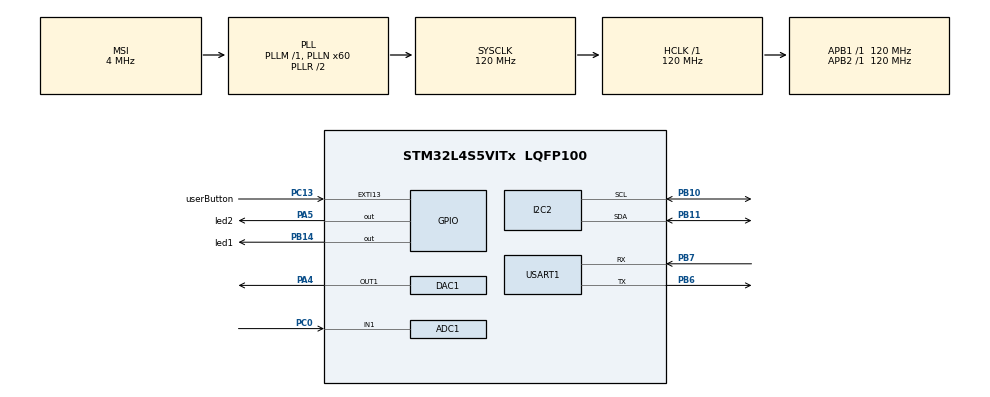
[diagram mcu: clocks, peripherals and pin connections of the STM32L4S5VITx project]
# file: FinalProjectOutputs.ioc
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ADC1.Channel-0\#ChannelRegularConversion=ADC_CHANNEL_1
ADC1.ContinuousConvMode=ENABLE
ADC1.NbrOfConversionFlag=1
ADC1.OffsetNumber-0\#ChannelRegularConversion=ADC_OFFSET_NONE
ADC1.Rank-0\#ChannelRegularConversion=1
ADC1.SamplingTime-0\#ChannelRegularConversion=ADC_SAMPLETIME_2CYCLES_5
ADC1.master=1
DAC1.DAC_Trigger-DAC_OUT1=DAC_TRIGGER_T2_TRGO
Dma.DAC1_CH1.0.Direction=DMA_MEMORY_TO_PERIPH
Dma.DAC1_CH1.0.EventEnable=DISABLE
Dma.DAC1_CH1.0.Instance=DMA1_Channel1
Dma.DAC1_CH1.0.MemDataAlignment=DMA_MDATAALIGN_HALFWORD
Dma.DAC1_CH1.0.MemInc=DMA_MINC_ENABLE
Dma.DAC1_CH1.0.Mode=DMA_CIRCULAR
Dma.DAC1_CH1.0.PeriphDataAlignment=DMA_PDATAALIGN_HALFWORD
Dma.DAC1_CH1.0.PeriphInc=DMA_PINC_DISABLE
Dma.DAC1_CH1.0.Polarity=HAL_DMAMUX_REQUEST_GEN_RISING
Dma.DAC1_CH1.0.Priority=DMA_PRIORITY_LOW
Dma.DAC1_CH1.0.RequestNumber=1
Dma.DAC1_CH1.0.SignalID=NONE
Dma.DAC1_CH1.0.SyncEnable=DISABLE
Dma.DAC1_CH1.0.SyncPolarity=HAL_DMAMUX_SYNC_NO_EVENT
Dma.DAC1_CH1.0.SyncRequestNumber=1
Dma.DAC1_CH1.0.SyncSignalID=NONE
Dma.Request0=DAC1_CH1
I2C2.Timing=0x307075B1
Mcu.Family=STM32L4
Mcu.Name=STM32L4S5VITx
Mcu.Package=LQFP100
NVIC.DMA1_Channel1_IRQn=true\:0\:0\:false\:false\:true\:false\:true\:true
NVIC.EXTI15_10_IRQn=true\:0\:0\:false\:false\:true\:true\:true\:true
NVIC.PriorityGroup=NVIC_PRIORITYGROUP_4
NVIC.TIM5_IRQn=true\:0\:0\:false\:false\:true\:true\:true\:true
PA4.Signal=COMP_DAC11_group
PA5.GPIO_Label=led2
PA5.Signal=GPIO_Output
PB10.Mode=I2C
PB10.Signal=I2C2_SCL
PB11.Mode=I2C
PB11.Signal=I2C2_SDA
PB14.GPIO_Label=led1
PB14.Signal=GPIO_Output
PB6.Mode=Asynchronous
PB6.Signal=USART1_TX
PB7.Mode=Asynchronous
PB7.Signal=USART1_RX
PC0.Signal=ADCx_IN1
PC13.GPIO_Label=userButton
PC13.Signal=GPXTI13
ProjectManager.HeapSize=0x200
ProjectManager.StackSize=0x400
ProjectManager.TargetToolchain=STM32CubeIDE
RCC.ADCFreq_Value=48000000
RCC.AHBFreq_Value=120000000
RCC.APB1Freq_Value=120000000
RCC.APB1TimFreq_Value=120000000
RCC.APB2Freq_Value=120000000
RCC.APB2TimFreq_Value=120000000
RCC.CortexFreq_Value=120000000
RCC.HCLKFreq_Value=120000000
RCC.HSE_VALUE=8000000
RCC.HSI48_VALUE=48000000
RCC.HSI_VALUE=16000000
RCC.LSE_VALUE=32768
RCC.MSI_VALUE=4000000
RCC.PLLN=60
RCC.PLLSAI1N=24
RCC.SYSCLKFreq_VALUE=120000000
RCC.SYSCLKSource=RCC_SYSCLKSOURCE_PLLCLK
RCC.USBFreq_Value=48000000
RCC.VCOOutputFreq_Value=240000000
SH.ADCx_IN1.0=ADC1_IN1,IN1-Single-Ended
SH.COMP_DAC11_group.0=DAC1_OUT1,DAC_OUT1
TIM2.Period=2721
TIM2.TIM_MasterOutputTrigger=TIM_TRGO_UPDATE
TIM5.Period=120000
USART1.VirtualMode-Asynchronous=VM_ASYNC
VP_TIM2_VS_ClockSourceINT.Mode=Internal
VP_TIM5_VS_ClockSourceINT.Mode=Internal
board=B-L4S5I-IOT01A

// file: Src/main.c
/* USER CODE BEGIN Header */
/**
  ******************************************************************************
  * @file           : main.c
  * @brief          : Main program body
  ******************************************************************************
  * @attention
  *
  * Copyright (c) 2023 STMicroelectronics.
  * All rights reserved.
  *
  * This software is licensed under terms that can be found in the LICENSE file
  * in the root directory of this software component.
  * If no LICENSE file comes with this software, it is provided AS-IS.
  *
  ******************************************************************************
  */
/* USER CODE END Header */
#include "main.h"

/* USER CODE BEGIN Includes */
#include <stdio.h>
#include <string.h>
#define ARM_MATH_CM4
#include "arm_math.h"
#include <stm32l4s5i_iot01_gyro.h>

/* USER CODE END Includes */

ADC_HandleTypeDef hadc1;

DAC_HandleTypeDef hdac1;
DMA_HandleTypeDef hdma_dac1_ch1;

I2C_HandleTypeDef hi2c2;

TIM_HandleTypeDef htim2;
TIM_HandleTypeDef htim5;

UART_HandleTypeDef huart1;

/* USER CODE BEGIN PV */
// printf & scanf stuff
#ifdef __GNUC__
#define PUTCHAR_PROTOTYPE int __io_putchar(int ch)
#define GETCHAR_PROTOTYPE int __io_getchar(void)
#else
#define PUTCHAR_PROTOTYPE int fputc(int ch, FILE *f)
#define GETCHAR_PROTOTYPE int fgetc(FILE *f)
#endif

PUTCHAR_PROTOTYPE
{
  HAL_UART_Transmit(&huart1, (uint8_t *)&ch, 1, HAL_MAX_DELAY);
  return ch;
}

GETCHAR_PROTOTYPE
{
  uint8_t ch = 0;

  /* Clear the Overrun flag just before receiving the first character */
  __HAL_UART_CLEAR_OREFLAG(&huart1);

  /* Wait for reception of a character on the USART RX line and echo this
   * character on console */
  HAL_UART_Receive(&huart1, (uint8_t *)&ch, 1, HAL_MAX_DELAY);
  HAL_UART_Transmit(&huart1, (uint8_t *)&ch, 1, HAL_MAX_DELAY);
  return ch;
}

// for mode 0
char inputChar;
int morseLetterSize;
char morseLetter[4];
char mode;

// for mode 1
char morseInputArray[4] = {'.', '\0', '\0', '\0'};
int morseInputArraySize = 1;
int millis;
int start;
int delays[5];
char code[5];
int res = 0;

	// for speaker
int beepArraySize = 44;
uint16_t beepArray[44];

char letterToPrint;
char notSpace; // 1 is true

float gyro_read[3];

/* USER CODE END PV */

void SystemClock_Config(void);
static void MX_GPIO_Init(void);
static void MX_DMA_Init(void);
static void MX_USART1_UART_Init(void);
static void MX_DAC1_Init(void);
static void MX_TIM2_Init(void);
static void MX_ADC1_Init(void);
static void MX_TIM5_Init(void);
static void MX_I2C2_Init(void);

/* USER CODE BEGIN 0 */
void HAL_GPIO_EXTI_Callback(uint16_t GPIO_Pin) { // page 391 HAL driver manual
	printf("Interrupt \n\r");
	if (GPIO_Pin == userButton_Pin) { // verify that only the pin we want is starting this interrupt (good coding practice)
		printf("Button Pressed. \n\r");
//		HAL_GPIO_TogglePin(led1_GPIO_Port, led1_Pin);
//		mode = (mode+1)%2;
//		if (mode == 1) {
//			printf("Taking input Morse input (array), displaying letter to terminal. \n\r");
//			printf("Press one more letter to end current translation. \n\r");
//		} else {
//			printf("Taking letter input from terminal, outputting Morse. \n\r");
//			printf("Press the spacebar to end current translation. \n\r");
//		}
	}
}

/**
 * Interrupt method to increment the counter at every millisecond
 */
void HAL_TIM_PeriodElapsedCallback(TIM_HandleTypeDef *htim) {
	if (htim == &htim5) {
		millis++;
	}
}

/**
 * Update global variables for the Morse array based on the inputted letter
 */
void updateMorseLetter(char letter){

	// \0s for space
	morseLetterSize = 4;
	morseLetter[0] = '\0'; morseLetter[1] = '\0'; morseLetter[2] = '\0'; morseLetter[3] = '\0';
	switch (letter)
	{
		case 'a':
			morseLetter[0] = '.'; morseLetter[1] = '-';
			morseLetterSize = 2;
			break;
		case 'b':
			morseLetter[0] = '-'; morseLetter[1] = '.'; morseLetter[2] = '.'; morseLetter[3] = '.';
			morseLetterSize = 4;
			break;
		case 'c':
			morseLetter[0] = '-'; morseLetter[1] = '.'; morseLetter[2] = '-'; morseLetter[3] = '.';
			morseLetterSize = 4;
			break;
		case 'd':
			morseLetter[0] = '-'; morseLetter[1] = '.'; morseLetter[2] = '.';
			morseLetterSize = 3;
			break;
		case 'e':
			morseLetter[0] = '.';
			morseLetterSize = 1;
			break;
		case 'f':
			morseLetter[0] = '.'; morseLetter[1] = '.'; morseLetter[2] = '-'; morseLetter[3] = '.';
			morseLetterSize = 4;
			break;
		case 'g':
			morseLetter[0] = '-'; morseLetter[1] = '-'; morseLetter[2] = '.';
			morseLetterSize = 3;
			break;
		case 'h':
			morseLetter[0] = '.'; morseLetter[1] = '.'; morseLetter[2] = '.'; morseLetter[3] = '.';
			morseLetterSize = 4;
			break;
		case 'i':
			morseLetter[0] = '.'; morseLetter[1] = '.';
			morseLetterSize = 2;
			break;
		case 'j':
			morseLetter[0] = '.'; morseLetter[1] = '-'; morseLetter[2] = '-'; morseLetter[3] = '-';
			morseLetterSize = 4;
			break;
		case 'k':
			morseLetter[0] = '-'; morseLetter[1] = '.'; morseLetter[2] = '-';
			morseLetterSize = 3;
			break;
		case 'l':
			morseLetter[0] = '.'; morseLetter[1] = '-'; morseLetter[2] = '.'; morseLetter[3] = '.';
			morseLetterSize = 4;
			break;
		case 'm':
			morseLetter[0] = '-'; morseLetter[1] = '-';
			morseLetterSize = 2;
			break;
		case 'n':
			morseLetter[0] = '-'; morseLetter[1] = '.';
			morseLetterSize = 2;
			break;
		case 'o':
			morseLetter[0] = '-'; morseLetter[1] = '-'; morseLetter[2] = '-';
			morseLetterSize = 3;
			break;
		case 'p':
			morseLetter[0] = '.'; morseLetter[1] = '-'; morseLetter[2] = '-'; morseLetter[3] = '.';
			morseLetterSize = 4;
			break;
		case 'q':
			morseLetter[0] = '-'; morseLetter[1] = '-'; morseLetter[2] = '.'; morseLetter[3] = '-';
			morseLetterSize = 4;
			break;
		case 'r':
			morseLetter[0] = '.'; morseLetter[1] = '-'; morseLetter[2] = '.';
			morseLetterSize = 3;
			break;
		case 's':
			morseLetter[0] = '.'; morseLetter[1] = '.'; morseLetter[2] = '.';
			morseLetterSize = 3;
			break;
		case 't':
			morseLetter[0] = '-';
			morseLetterSize = 1;
			break;
		case 'u':
			morseLetter[0] = '.'; morseLetter[1] = '.'; morseLetter[2] = '-';
			morseLetterSize = 3;
			break;
		case 'v':
			morseLetter[0] = '.'; morseLetter[1] = '.'; morseLetter[2] = '.'; morseLetter[3] = '-';
			morseLetterSize = 4;
			break;
		case 'w':
			morseLetter[0] = '.'; morseLetter[1] = '-'; morseLetter[2] = '-';
			morseLetterSize = 3;
			break;
		case 'x':
			morseLetter[0] = '-'; morseLetter[1] = '.'; morseLetter[2] = '.'; morseLetter[3] = '-';
			morseLetterSize = 4;
			break;
		case 'y':
			morseLetter[0] = '-'; morseLetter[1] = '.'; morseLetter[2] = '-'; morseLetter[3] = '-';
			morseLetterSize = 4;
			break;
		case 'z':
			morseLetter[0] = '-'; morseLetter[1] = '-'; morseLetter[2] = '.'; morseLetter[3] = '.';
			morseLetterSize = 4;
	}
}

/**
 * print the current Morse array to the serial terminal
 */
void printMorseLetter() {
	if (morseLetter[0] == '\0') {
		printf(" *space* ");
	} else {
		for (int i = 0; i < morseLetterSize; i++){
			printf("%c", morseLetter[i]);
		}
	}
}

/**
 * Play the current Morse array to the DAC speaker (and display on LED)
 */
void playMorseToSpeaker(char *morseArray, int morseArraySize) {
	for (int i = 0; i < morseArraySize; i++) {
		if (morseArray[i] == '.') {
			HAL_DAC_Start_DMA(&hdac1, DAC_CHANNEL_1, (uint32_t*) *beepArray, (uint32_t) beepArraySize, DAC_ALIGN_12B_R);
			HAL_GPIO_TogglePin(led2_GPIO_Port, led2_Pin);
			HAL_Delay(300);
			HAL_DAC_Stop_DMA(&hdac1, DAC_CHANNEL_1);
			HAL_GPIO_TogglePin(led2_GPIO_Port, led2_Pin);
			HAL_Delay(300);
		} else if (morseArray[i] == '-') {
			HAL_DAC_Start_DMA(&hdac1, DAC_CHANNEL_1, (uint32_t*) *beepArray, (uint32_t) beepArraySize, DAC_ALIGN_12B_R);
			HAL_GPIO_TogglePin(led2_GPIO_Port, led2_Pin);
			HAL_Delay(600);
			HAL_DAC_Stop_DMA(&hdac1, DAC_CHANNEL_1);
			HAL_GPIO_TogglePin(led2_GPIO_Port, led2_Pin);
			HAL_Delay(300);
		} else {
			return;
		}
	}
	printf("\n\r");
}

/**
 * Get a letter from the inputted Morse array
 */
char getLetterFromMorse(char *morseArray, int morseArraySize) {
	char nullChar = '\0';
	if (morseArraySize == 0) {return nullChar;}
	switch (morseArray[0]) {
	case '.':
		if (morseArraySize == 1) {return 'E';}
		switch (morseArray[1]) {
		case '.':
			if (morseArraySize == 2) {return 'I';}
			switch (morseArray[2]) {
			case '.':
				if (morseArraySize == 3) {return 'S';}
				switch(morseArray[3]) {
				case '.':
					return 'H';
				case '-':
					return 'V';
				}
			case '-':
				if (morseArraySize == 3) {return 'U';}
				switch(morseArray[3]) {
				case '.':
					return 'F';
				case '-':
					;
				}
			}
		case '-':
			if (morseArraySize == 2) {return 'A';}
			switch (morseArray[2]) {
			case '.':
				if (morseArraySize == 3) {return 'R';}
				switch(morseArray[3]) {
				case '.':
					return 'L';
				case '-':
					;
				}
			case '-':
				if (morseArraySize == 3) {return 'W';}
				switch(morseArray[3]) {
				case '.':
					return 'P';
				case '-':
					return 'J';
				}
			}
		}
	case '-':
		if (morseArraySize == 1) {return 'T';}
		switch (morseArray[1]) {
		case '.':
			if (morseArraySize == 2) {return 'N';}
			switch (morseArray[2]) {
			case '.':
				if (morseArraySize == 3) {return 'D';}
				switch(morseArray[3]) {
				case '.':
					return 'B';
				case '-':
					return 'X';
				}
			case '-':
				if (morseArraySize == 3) {return 'K';}
				switch(morseArray[3]) {
				case '.':
					return 'C';
				case '-':
					return 'Y';
				}
			}
		case '-':
			if (morseArraySize == 2) {return 'M';}
			switch (morseArray[2]) {
			case '.':
				if (morseArraySize == 3) {return 'G';}
				switch(morseArray[3]) {
				case '.':
					return 'Z';
				case '-':
					return 'Q';
				}
			case '-':
				if (morseArraySize == 3) {return 'O';}
				switch(morseArray[3]) {
				case '.':
					;
				case '-':
					;
				}
			}
		}
	}
	return nullChar;
}

/**
 * Calculate the corresponding letter associated with the code
 */
void calcMorseArray() {
	// Clear the code array
	for (int i = 0; i < 5; i++) code[i] = '\000';

	// Translate the delays into the appropriate symbols (i.e. '.', '-')
	for (int i = 0; i < 5; i++) {
		if (delays[i] == 0) break;

		if (delays[i] >= 300) code[i] = '-';
		if (delays[i] < 300) code[i] = '.';
	}
}

/**
 * Wait for the ADC input to be pressed returns 0 when pressed or 1 when timeouts
 */
int waitForADCPress(int i) {
	while (1) {
		HAL_ADC_Start(&hadc1);
		if (HAL_ADC_PollForConversion(&hadc1, 1000) == HAL_OK) {
			if (HAL_ADC_GetValue(&hadc1) <= 1000) {
				HAL_ADC_Stop(&hadc1);
				return 0;
			}
			if (i > 0 && millis - (start + delays[i - 1]) >= 2000) {
				HAL_ADC_Stop(&hadc1);
				return 1;
			}
		}
		HAL_ADC_Stop(&hadc1);
	}
}

/**
 * Wait for the ADC input to be released
 */
void waitForADCRelease() {
	while (1) {
		HAL_ADC_Start(&hadc1);
		if (HAL_ADC_PollForConversion(&hadc1, 1000) == HAL_OK) {
			if (HAL_ADC_GetValue(&hadc1) > 1000) {
				HAL_ADC_Stop(&hadc1);
				return;
			}
		}
		HAL_ADC_Stop(&hadc1);
	}
}

/**
 * Wait for the user to input up to 5 signals
 * returns the size of the input Morse
 */
int getMorseInput() {
	// Start the timer at 0 ms
	millis = 0;
	HAL_TIM_Base_Start_IT(&htim5);

	// Clear the delay array
	for (int i = 0; i < 5; i++) delays[i] = 0;

	// Ask for up to 5 signals (i < 6 because return is in the next iteration)
	for (int i = 0; i < 6; i++) {
		// Wait while the button is not pressed
		if (waitForADCPress(i) == 1) {
			calcMorseArray();
			return i;
		}
		HAL_Delay(10);
		start = millis;

		// Wait until the button is released
		waitForADCRelease();
		HAL_Delay(10);
		delays[i] = millis - start;
	}
}

/* USER CODE END 0 */

int main(void)
{
  /* USER CODE BEGIN 1 */
	/*
	 * mode 0 for taking input from terminal, outputting Morse code
	 * mode 1 for taking input of array for Morse letter, displaying letter to terminal
	 */
mode = 0; // no longer used
char ADC = 1; // 0 if no ADC connected, 1 if ADC connected

/*
 * Wiring instructions
 * D7 -> speaker -> resistor -> GND
 * *Insert ADC wiring*
 */

morseInputArray[0] = '\0';
morseInputArray[1] = '\0';
morseInputArray[2] = '\0';
morseInputArray[3] = '\0';
morseInputArraySize = 0;

notSpace = 1; // 1 is true

  /* USER CODE END 1 */

  /* MCU Configuration--------------------------------------------------------*/

  /* Reset of all peripherals, Initializes the Flash interface and the Systick. */
  HAL_Init();

  /* USER CODE BEGIN Init */
  // for scanf
  setvbuf(stdin, NULL, _IONBF, 0);

  /* USER CODE END Init */

  /* Configure the system clock */
  SystemClock_Config();

  /* Initialize all configured peripherals */
  MX_GPIO_Init();
  MX_DMA_Init();
  MX_USART1_UART_Init();
  MX_DAC1_Init();
  MX_TIM2_Init();
  MX_ADC1_Init();
  MX_TIM5_Init();
  MX_I2C2_Init();
  /* USER CODE BEGIN 2 */
  BSP_GYRO_Init();		// Gyroscope
  //HAL_DACEx_SelfCalibrate(&hdac1, &sConfigGlobal, DAC1_CHANNEL_1);
  HAL_TIM_Base_Start_IT(&htim2);

  /*
   * Initialize beeps
   */
  for (int i = 0; i < beepArraySize; i++) {
	  beepArray[i] = (arm_sin_f32(2*PI*i/beepArraySize)+1)*(1365); // 1365 multiplier as 4095 max output, max sine output of 2, scale down to 2/3 to reduce distortion (4095/2)*(2/3)
  }

  // calibrate gyro
  float gyroCalibration[3];
  BSP_GYRO_GetXYZ(&gyroCalibration);
  int shakeValue = 4000;

  printf("Welcome to the Morse code translator!\n\r");

  /* USER CODE END 2 */

  /* Infinite loop */
  /* USER CODE BEGIN WHILE */
  while (1)
  {

	  // mode selection
	  printf("Shake for a new mode!\n\r");
	  HAL_Delay(1750);
	  BSP_GYRO_GetXYZ(&gyro_read);
	  if (gyro_read[0]-gyroCalibration[0] > shakeValue || gyro_read[1]-gyroCalibration[1] > shakeValue || gyro_read[2]-gyroCalibration[2] > shakeValue) {
		  printf("Shake detected! New mode.\n\r");
		  mode = (mode+1)%2;
	  } else {
		  printf("No shake detected, same mode.\n\r");
	  }

	  if (mode == 1) {
	  			printf("Taking input Morse input (array), displaying letter to terminal. \n\r");
	  		} else {
	  			printf("Taking letter input from terminal, outputting Morse. \n\r");
	  		}

	  HAL_Delay(1000);

	  if (mode == 0) { // taking input from terminal, outputting Morse code
		  // get character from user
		  printf("Input a character: ");
		  scanf("%c", &inputChar);
		  printf("\n\rYou entered: %c \n\r", inputChar); // print character
		  //printf("ASCII Character: %d \n\r", inputChar); // print ASCII value

		  // Update, display, and play the Morse letter
		  updateMorseLetter(inputChar);
		  printf("Morse Translation: ");
		  printMorseLetter();
		  printf("\n\r");
		  playMorseToSpeaker(morseLetter, morseLetterSize);
		  HAL_Delay(1000);

	  }

	  if (mode == 1) { // taking input of array for Morse letter, displaying letter to terminal
		  if (ADC == 0) {
		  	  // reset input stuff
			  notSpace = 1;
			  morseInputArraySize = 0;
			  morseInputArray[0] = '\0'; morseInputArray[1] = '\0'; morseInputArray[2] = '\0'; morseInputArray[3] = '\0';
			  // get user input until space input
			  printf("\n\rInput Morse (. and - with a space at the end)\n\r");
			  while (notSpace == 1) {
				  scanf("%c", &inputChar);
				  if (inputChar == 32) {
					  printf("\n\rSpace Inputed\n\r");
					  notSpace = 0;
					  break;
				  }
				  printf(" You entered: %c\n\r", inputChar);
				  morseInputArray[morseInputArraySize] = inputChar;
				  morseInputArraySize = morseInputArraySize+1;
			  }
			  // get morse input from ADC
			  letterToPrint = getLetterFromMorse(morseInputArray, morseInputArraySize);
			  printf("Letter from  input: %c \n\r", letterToPrint);
			  HAL_Delay(500);

		  }
		  if (ADC == 1)  {
			  printf("\n\rInput Morse using the analog stick (wait 2 seconds when done)\n\r");
			  morseInputArraySize = getMorseInput();
			  printf("\n\rYou entered: %c%c%c%c%c\n\r", code[0], code[1], code[2], code[3], code[4]);

			  // display letter corresponding to input
			  letterToPrint = getLetterFromMorse(code, morseInputArraySize);
			  printf("Letter from  input: %c \n\r", letterToPrint);
			  HAL_Delay(500);
		  }
	  }

    /* USER CODE END WHILE */

  }
}

void SystemClock_Config(void)
{
  RCC_OscInitTypeDef RCC_OscInitStruct = {0};
  RCC_ClkInitTypeDef RCC_ClkInitStruct = {0};

  /** Configure the main internal regulator output voltage
  */
  if (HAL_PWREx_ControlVoltageScaling(PWR_REGULATOR_VOLTAGE_SCALE1_BOOST) != HAL_OK)
  {
    Error_Handler();
  }

  /** Initializes the RCC Oscillators according to the specified parameters
  * in the RCC_OscInitTypeDef structure.
  */
  RCC_OscInitStruct.OscillatorType = RCC_OSCILLATORTYPE_MSI;
  RCC_OscInitStruct.MSIState = RCC_MSI_ON;
  RCC_OscInitStruct.MSICalibrationValue = 0;
  RCC_OscInitStruct.MSIClockRange = RCC_MSIRANGE_6;
  RCC_OscInitStruct.PLL.PLLState = RCC_PLL_ON;
  RCC_OscInitStruct.PLL.PLLSource = RCC_PLLSOURCE_MSI;
  RCC_OscInitStruct.PLL.PLLM = 1;
  RCC_OscInitStruct.PLL.PLLN = 60;
  RCC_OscInitStruct.PLL.PLLP = RCC_PLLP_DIV2;
  RCC_OscInitStruct.PLL.PLLQ = RCC_PLLQ_DIV2;
  RCC_OscInitStruct.PLL.PLLR = RCC_PLLR_DIV2;
  if (HAL_RCC_OscConfig(&RCC_OscInitStruct) != HAL_OK)
  {
    Error_Handler();
  }

  /** Initializes the CPU, AHB and APB buses clocks
  */
  RCC_ClkInitStruct.ClockType = RCC_CLOCKTYPE_HCLK|RCC_CLOCKTYPE_SYSCLK
                              |RCC_CLOCKTYPE_PCLK1|RCC_CLOCKTYPE_PCLK2;
  RCC_ClkInitStruct.SYSCLKSource = RCC_SYSCLKSOURCE_PLLCLK;
  RCC_ClkInitStruct.AHBCLKDivider = RCC_SYSCLK_DIV1;
  RCC_ClkInitStruct.APB1CLKDivider = RCC_HCLK_DIV1;
  RCC_ClkInitStruct.APB2CLKDivider = RCC_HCLK_DIV1;

  if (HAL_RCC_ClockConfig(&RCC_ClkInitStruct, FLASH_LATENCY_5) != HAL_OK)
  {
    Error_Handler();
  }
}

static void MX_ADC1_Init(void)
{

  ADC_ChannelConfTypeDef sConfig = {0};

  /** Common config
  */
  hadc1.Instance = ADC1;
  hadc1.Init.ClockPrescaler = ADC_CLOCK_ASYNC_DIV1;
  hadc1.Init.Resolution = ADC_RESOLUTION_12B;
  hadc1.Init.DataAlign = ADC_DATAALIGN_RIGHT;
  hadc1.Init.ScanConvMode = ADC_SCAN_DISABLE;
  hadc1.Init.EOCSelection = ADC_EOC_SINGLE_CONV;
  hadc1.Init.LowPowerAutoWait = DISABLE;
  hadc1.Init.ContinuousConvMode = ENABLE;
  hadc1.Init.NbrOfConversion = 1;
  hadc1.Init.DiscontinuousConvMode = DISABLE;
  hadc1.Init.ExternalTrigConv = ADC_SOFTWARE_START;
  hadc1.Init.ExternalTrigConvEdge = ADC_EXTERNALTRIGCONVEDGE_NONE;
  hadc1.Init.DMAContinuousRequests = DISABLE;
  hadc1.Init.Overrun = ADC_OVR_DATA_PRESERVED;
  hadc1.Init.OversamplingMode = DISABLE;
  hadc1.Init.DFSDMConfig = ADC_DFSDM_MODE_ENABLE;
  if (HAL_ADC_Init(&hadc1) != HAL_OK)
  {
    Error_Handler();
  }

  /** Configure Regular Channel
  */
  sConfig.Channel = ADC_CHANNEL_1;
  sConfig.Rank = ADC_REGULAR_RANK_1;
  sConfig.SamplingTime = ADC_SAMPLETIME_2CYCLES_5;
  sConfig.SingleDiff = ADC_SINGLE_ENDED;
  sConfig.OffsetNumber = ADC_OFFSET_NONE;
  sConfig.Offset = 0;
  if (HAL_ADC_ConfigChannel(&hadc1, &sConfig) != HAL_OK)
  {
    Error_Handler();
  }

}

static void MX_DAC1_Init(void)
{

  DAC_ChannelConfTypeDef sConfig = {0};

  /** DAC Initialization
  */
  hdac1.Instance = DAC1;
  if (HAL_DAC_Init(&hdac1) != HAL_OK)
  {
    Error_Handler();
  }

  /** DAC channel OUT1 config
  */
  sConfig.DAC_SampleAndHold = DAC_SAMPLEANDHOLD_DISABLE;
  sConfig.DAC_Trigger = DAC_TRIGGER_T2_TRGO;
  sConfig.DAC_HighFrequency = DAC_HIGH_FREQUENCY_INTERFACE_MODE_ABOVE_80MHZ;
  sConfig.DAC_OutputBuffer = DAC_OUTPUTBUFFER_ENABLE;
  sConfig.DAC_ConnectOnChipPeripheral = DAC_CHIPCONNECT_DISABLE;
  sConfig.DAC_UserTrimming = DAC_TRIMMING_FACTORY;
  if (HAL_DAC_ConfigChannel(&hdac1, &sConfig, DAC_CHANNEL_1) != HAL_OK)
  {
    Error_Handler();
  }

}

static void MX_I2C2_Init(void)
{

  hi2c2.Instance = I2C2;
  hi2c2.Init.Timing = 0x307075B1;
  hi2c2.Init.OwnAddress1 = 0;
  hi2c2.Init.AddressingMode = I2C_ADDRESSINGMODE_7BIT;
  hi2c2.Init.DualAddressMode = I2C_DUALADDRESS_DISABLE;
  hi2c2.Init.OwnAddress2 = 0;
  hi2c2.Init.OwnAddress2Masks = I2C_OA2_NOMASK;
  hi2c2.Init.GeneralCallMode = I2C_GENERALCALL_DISABLE;
  hi2c2.Init.NoStretchMode = I2C_NOSTRETCH_DISABLE;
  if (HAL_I2C_Init(&hi2c2) != HAL_OK)
  {
    Error_Handler();
  }

  /** Configure Analogue filter
  */
  if (HAL_I2CEx_ConfigAnalogFilter(&hi2c2, I2C_ANALOGFILTER_ENABLE) != HAL_OK)
  {
    Error_Handler();
  }

  /** Configure Digital filter
  */
  if (HAL_I2CEx_ConfigDigitalFilter(&hi2c2, 0) != HAL_OK)
  {
    Error_Handler();
  }

}

static void MX_TIM2_Init(void)
{

  TIM_ClockConfigTypeDef sClockSourceConfig = {0};
  TIM_MasterConfigTypeDef sMasterConfig = {0};

  htim2.Instance = TIM2;
  htim2.Init.Prescaler = 0;
  htim2.Init.CounterMode = TIM_COUNTERMODE_UP;
  htim2.Init.Period = 2721;
  htim2.Init.ClockDivision = TIM_CLOCKDIVISION_DIV1;
  htim2.Init.AutoReloadPreload = TIM_AUTORELOAD_PRELOAD_DISABLE;
  if (HAL_TIM_Base_Init(&htim2) != HAL_OK)
  {
    Error_Handler();
  }
  sClockSourceConfig.ClockSource = TIM_CLOCKSOURCE_INTERNAL;
  if (HAL_TIM_ConfigClockSource(&htim2, &sClockSourceConfig) != HAL_OK)
  {
    Error_Handler();
  }
  sMasterConfig.MasterOutputTrigger = TIM_TRGO_UPDATE;
  sMasterConfig.MasterSlaveMode = TIM_MASTERSLAVEMODE_DISABLE;
  if (HAL_TIMEx_MasterConfigSynchronization(&htim2, &sMasterConfig) != HAL_OK)
  {
    Error_Handler();
  }

}

static void MX_TIM5_Init(void)
{

  TIM_ClockConfigTypeDef sClockSourceConfig = {0};
  TIM_MasterConfigTypeDef sMasterConfig = {0};

  htim5.Instance = TIM5;
  htim5.Init.Prescaler = 0;
  htim5.Init.CounterMode = TIM_COUNTERMODE_UP;
  htim5.Init.Period = 120000;
  htim5.Init.ClockDivision = TIM_CLOCKDIVISION_DIV1;
  htim5.Init.AutoReloadPreload = TIM_AUTORELOAD_PRELOAD_DISABLE;
  if (HAL_TIM_Base_Init(&htim5) != HAL_OK)
  {
    Error_Handler();
  }
  sClockSourceConfig.ClockSource = TIM_CLOCKSOURCE_INTERNAL;
  if (HAL_TIM_ConfigClockSource(&htim5, &sClockSourceConfig) != HAL_OK)
  {
    Error_Handler();
  }
  sMasterConfig.MasterOutputTrigger = TIM_TRGO_RESET;
  sMasterConfig.MasterSlaveMode = TIM_MASTERSLAVEMODE_DISABLE;
  if (HAL_TIMEx_MasterConfigSynchronization(&htim5, &sMasterConfig) != HAL_OK)
  {
    Error_Handler();
  }

}

static void MX_USART1_UART_Init(void)
{

  huart1.Instance = USART1;
  huart1.Init.BaudRate = 115200;
  huart1.Init.WordLength = UART_WORDLENGTH_8B;
  huart1.Init.StopBits = UART_STOPBITS_1;
  huart1.Init.Parity = UART_PARITY_NONE;
  huart1.Init.Mode = UART_MODE_TX_RX;
  huart1.Init.HwFlowCtl = UART_HWCONTROL_NONE;
  huart1.Init.OverSampling = UART_OVERSAMPLING_16;
  huart1.Init.OneBitSampling = UART_ONE_BIT_SAMPLE_DISABLE;
  huart1.Init.ClockPrescaler = UART_PRESCALER_DIV1;
  huart1.AdvancedInit.AdvFeatureInit = UART_ADVFEATURE_NO_INIT;
  if (HAL_UART_Init(&huart1) != HAL_OK)
  {
    Error_Handler();
  }
  if (HAL_UARTEx_SetTxFifoThreshold(&huart1, UART_TXFIFO_THRESHOLD_1_8) != HAL_OK)
  {
    Error_Handler();
  }
  if (HAL_UARTEx_SetRxFifoThreshold(&huart1, UART_RXFIFO_THRESHOLD_1_8) != HAL_OK)
  {
    Error_Handler();
  }
  if (HAL_UARTEx_DisableFifoMode(&huart1) != HAL_OK)
  {
    Error_Handler();
  }

}

static void MX_DMA_Init(void)
{

  /* DMA controller clock enable */
  __HAL_RCC_DMAMUX1_CLK_ENABLE();
  __HAL_RCC_DMA1_CLK_ENABLE();

  /* DMA interrupt init */
  /* DMA1_Channel1_IRQn interrupt configuration */
  HAL_NVIC_SetPriority(DMA1_Channel1_IRQn, 0, 0);
  HAL_NVIC_EnableIRQ(DMA1_Channel1_IRQn);

}

static void MX_GPIO_Init(void)
{
  GPIO_InitTypeDef GPIO_InitStruct = {0};

  /* GPIO Ports Clock Enable */
  __HAL_RCC_GPIOC_CLK_ENABLE();
  __HAL_RCC_GPIOA_CLK_ENABLE();
  __HAL_RCC_GPIOB_CLK_ENABLE();

  /*Configure GPIO pin Output Level */
  HAL_GPIO_WritePin(led2_GPIO_Port, led2_Pin, GPIO_PIN_RESET);

  /*Configure GPIO pin Output Level */
  HAL_GPIO_WritePin(led1_GPIO_Port, led1_Pin, GPIO_PIN_RESET);

  /*Configure GPIO pin : userButton_Pin */
  GPIO_InitStruct.Pin = userButton_Pin;
  GPIO_InitStruct.Mode = GPIO_MODE_IT_RISING;
  GPIO_InitStruct.Pull = GPIO_NOPULL;
  HAL_GPIO_Init(userButton_GPIO_Port, &GPIO_InitStruct);

  /*Configure GPIO pin : led2_Pin */
  GPIO_InitStruct.Pin = led2_Pin;
  GPIO_InitStruct.Mode = GPIO_MODE_OUTPUT_PP;
  GPIO_InitStruct.Pull = GPIO_NOPULL;
  GPIO_InitStruct.Speed = GPIO_SPEED_FREQ_LOW;
  HAL_GPIO_Init(led2_GPIO_Port, &GPIO_InitStruct);

  /*Configure GPIO pin : led1_Pin */
  GPIO_InitStruct.Pin = led1_Pin;
  GPIO_InitStruct.Mode = GPIO_MODE_OUTPUT_PP;
  GPIO_InitStruct.Pull = GPIO_NOPULL;
  GPIO_InitStruct.Speed = GPIO_SPEED_FREQ_LOW;
  HAL_GPIO_Init(led1_GPIO_Port, &GPIO_InitStruct);

  /* EXTI interrupt init*/
  HAL_NVIC_SetPriority(EXTI15_10_IRQn, 0, 0);
  HAL_NVIC_EnableIRQ(EXTI15_10_IRQn);

}

void Error_Handler(void)
{
  __disable_irq();
  while (1)
  {
  }
}
